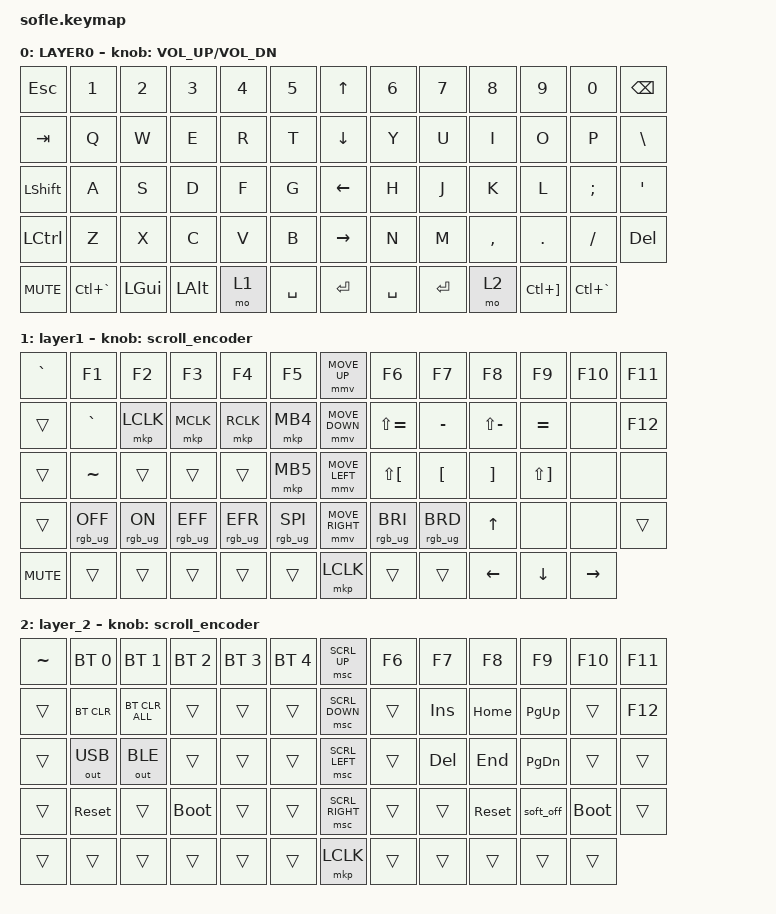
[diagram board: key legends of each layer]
#include <behaviors/mouse_keys.dtsi>
#include <dt-bindings/zmk/mouse.h>
#include <behaviors.dtsi>
#include <dt-bindings/zmk/bt.h>
#include <dt-bindings/zmk/keys.h>
#include <dt-bindings/zmk/outputs.h>
#include <dt-bindings/zmk/pointing.h>
#include <dt-bindings/zmk/pointing.h>
#include <dt-bindings/zmk/pointing.h>
#include <dt-bindings/zmk/rgb.h>

#define ZMK_MOUSE_DEFAULT_MOVE_VAL 1200  // 600
#define ZMK_MOUSE_DEFAULT_SCRL_VAL 20    // 10
#define U_MS_U &mmv MOVE_UP
#define U_MS_D &mmv MOVE_DOWN
#define U_MS_L &mmv MOVE_LEFT
#define U_MS_R &mmv MOVE_RIGHT
#define ZMK_MOUSE_DEFAULT_MOVE_VAL 1200  //  600
#define ZMK_MOUSE_DEFAULT_SCRL_VAL 20    // 10

/ {
    behaviors {
        mmv {
            acceleration-exponent = <1>;      // 1
            time-to-max-speed-ms = <900>;    // 40
            delay-ms = <0>;                   // 0
        };

        msc {
            acceleration-exponent = <1>;      // 0
            time-to-max-speed-ms = <400>;      // 500
            delay-ms = <0>;                   //   10
        };
    };

    scroll_encoder: scroll_encoder {
        compatible = "zmk,behavior-sensor-rotate";
        #sensor-binding-cells = <0>;
        bindings = <&msc SCRL_DOWN>, <&msc SCRL_UP>;

        tap-ms = <30>;
    };

    keymap {
        compatible = "zmk,keymap";

        layer0 {
            bindings = <
&kp ESC         &kp N1         &kp N2        &kp N3        &kp N4  &kp N5       &kp UP_ARROW     &kp N6     &kp N7     &kp N8     &kp N9                 &kp N0         &kp BACKSPACE
&kp TAB         &kp Q          &kp W         &kp E         &kp R   &kp T        &kp DOWN_ARROW   &kp Y      &kp U      &kp I      &kp O                  &kp P          &kp BSLH
&kp LEFT_SHIFT  &kp A          &kp S         &kp D         &kp F   &kp G        &kp LEFT_ARROW   &kp H      &kp J      &kp K      &kp L                  &kp SEMI       &kp APOS
&kp LCTRL       &kp Z          &kp X         &kp C         &kp V   &kp B        &kp RIGHT_ARROW  &kp N      &kp M      &kp COMMA  &kp DOT                &kp FSLH       &kp DELETE
&kp C_MUTE      &kp LC(GRAVE)  &kp LEFT_GUI  &kp LEFT_ALT  &mo 1   &kp SPACE    &kp ENTER        &kp SPACE  &kp ENTER  &mo 2      &kp LC(RIGHT_BRACKET)  &kp LC(GRAVE)
            >;

            sensor-bindings = <&inc_dec_kp C_VOLUME_UP C_VOL_DN>;
            display-name = "LAYER0";
        };

        layer_1 {
            bindings = <
&kp GRAVE   &kp F1           &kp F2          &kp F3           &kp F4           &kp F5             &mmv MOVE_UP     &kp F6                &kp F7            &kp F8             &kp F9                 &kp F10          &kp F11
&trans      &kp GRAVE        &mkp LCLK       &mkp MCLK        &mkp RCLK        &mkp MB4           &mmv MOVE_DOWN   &kp LS(EQUAL)         &kp MINUS         &kp LS(MINUS)      &kp EQUAL              &none            &kp F12
&trans      &kp TILDE        &trans          &trans           &trans           &mkp MB5           &mmv MOVE_LEFT   &kp LS(LEFT_BRACKET)  &kp LEFT_BRACKET  &kp RIGHT_BRACKET  &kp LS(RIGHT_BRACKET)  &none            &none
&trans      &rgb_ug RGB_OFF  &rgb_ug RGB_ON  &rgb_ug RGB_EFF  &rgb_ug RGB_EFR  &rgb_ug RGB_SPI    &mmv MOVE_RIGHT  &rgb_ug RGB_BRI       &rgb_ug RGB_BRD   &kp UP_ARROW       &none                  &none            &trans
&kp C_MUTE  &trans           &trans          &trans           &trans           &trans             &mkp LCLK        &trans                &trans            &kp LEFT_ARROW     &kp DOWN_ARROW         &kp RIGHT_ARROW
            >;

            display-name = "layer1";
            sensor-bindings = <&scroll_encoder>;
        };

        layer_2 {
            bindings = <
&kp TILDE  &bt BT_SEL 0  &bt BT_SEL 1    &bt BT_SEL 2  &bt BT_SEL 3  &bt BT_SEL 4    &msc SCRL_UP     &kp F6  &kp F7   &kp F8      &kp F9         &kp F10      &kp F11
&trans     &bt BT_CLR    &bt BT_CLR_ALL  &trans        &trans        &trans          &msc SCRL_DOWN   &trans  &kp INS  &kp HOME    &kp PAGE_UP    &trans       &kp F12
&trans     &out OUT_USB  &out OUT_BLE    &trans        &trans        &trans          &msc SCRL_LEFT   &trans  &kp DEL  &kp END     &kp PAGE_DOWN  &trans       &trans
&trans     &sys_reset    &trans          &bootloader   &trans        &trans          &msc SCRL_RIGHT  &trans  &trans   &sys_reset  &soft_off      &bootloader  &trans
&trans     &trans        &trans          &trans        &trans        &trans          &mkp LCLK        &trans  &trans   &trans      &trans         &trans
            >;

            sensor-bindings = <&scroll_encoder>;
        };
    };
};
